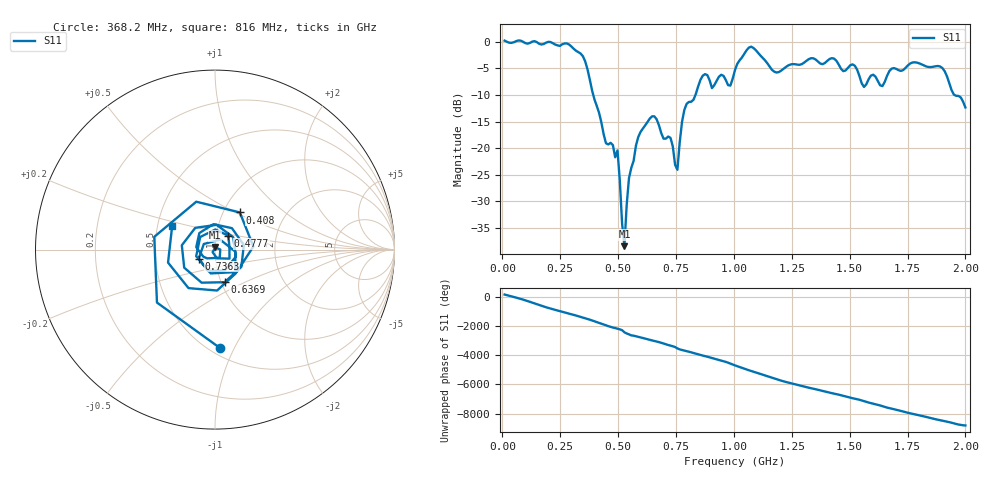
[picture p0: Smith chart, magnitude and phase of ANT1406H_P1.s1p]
!Created with skrf (http://scikit-rf.org).
# Hz S RI R 50.0
!freq ReS11 ImS11
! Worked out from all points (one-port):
!   201 points, 10 MHz to 2 GHz, reference 50 ohm
!   lowest |S11| = -38.4 dB at 527.4 MHz (marker M1), VSWR 1.02, Z = 50.2 + j1.19 ohm
!   |S11| at or under -10 dB: 392.8 MHz to 834.2 MHz (441.4 MHz wide, 71.9 % of centre); 1.953 GHz to end of sweep
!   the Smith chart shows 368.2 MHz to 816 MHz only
!   S11 on the Smith chart (normalised r, x): 368.2 MHz: 0.56, -0.88; 408 MHz: 1.19, +0.53; 477.6 MHz: 1.14, +0.18; 636.9 MHz: 1.04, -0.39; 736.4 MHz: 0.83, -0.08; 816 MHz: 0.60, +0.17
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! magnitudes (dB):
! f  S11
! 10 MHz  0.2
! 258.8 MHz  -0.5
! 368.2 MHz  -5.2
! 408 MHz  -12.1
! 447.8 MHz  -19.1
! 477.6 MHz  -19.4
! 497.6 MHz  -20.4
! 507.5 MHz  -26.1
! 517.5 MHz  -34.2
! 527.4 MHz  -38.4
! 547.3 MHz  -25.6
! 587.1 MHz  -17.9
! 636.9 MHz  -14.4
! 736.4 MHz  -19.7
! 756.2 MHz  -24.1
! 786.1 MHz  -12.8
! 816 MHz  -11.3
! 865.7 MHz  -6.4
! 985.1 MHz  -8.3
! 1.005 GHz  -5.3
! 1.075 GHz  -0.9
! 1.174 GHz  -5.6
! 1.254 GHz  -4.2
! 1.502 GHz  -4.4
! 1.562 GHz  -8.5
! 1.751 GHz  -4.5
! 1.901 GHz  -4.9
! 2 GHz  -12.4
